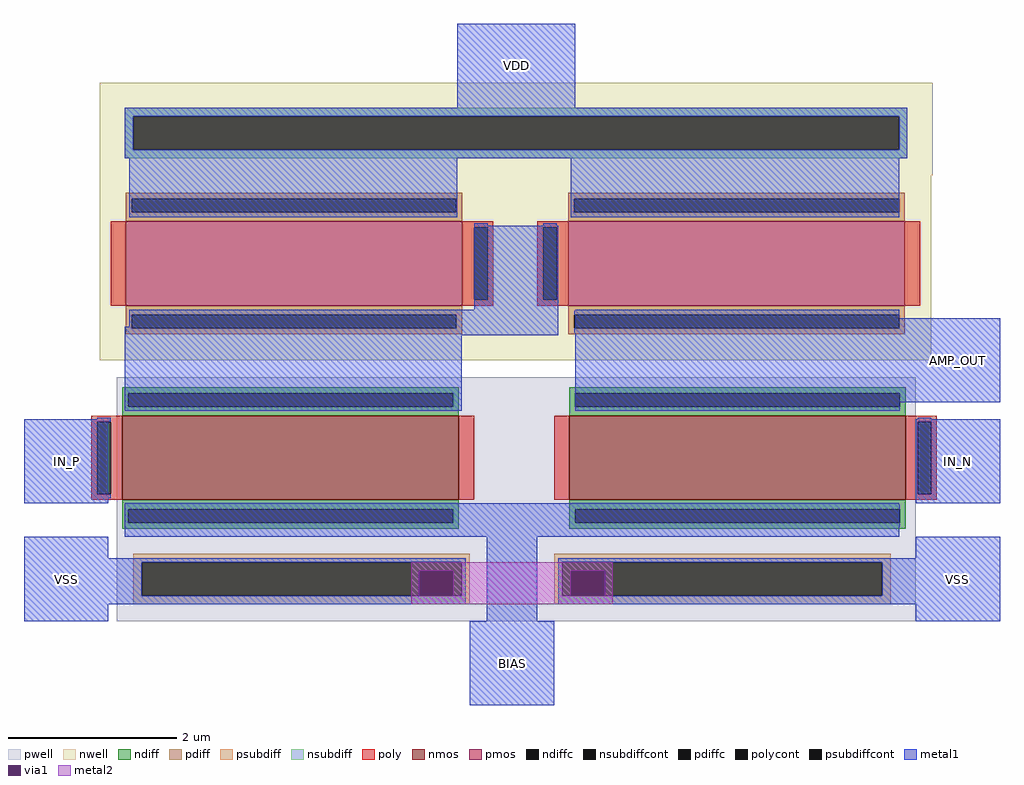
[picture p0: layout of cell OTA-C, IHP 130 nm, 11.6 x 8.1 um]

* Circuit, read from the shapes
.subckt OTA-C AMP_OUT IN_P VDD IN_N VSS BIAS
XM1 sg13_lv_nmos_CB58VR_0/D IN_P BIAS VSS sg13_lv_nmos w=4u l=1u
XM2 AMP_OUT IN_N BIAS VSS sg13_lv_nmos w=4u l=1u
XM3 VDD sg13_lv_nmos_CB58VR_0/D sg13_lv_nmos_CB58VR_0/D VDD sg13_lv_pmos w=4u l=1u
XM4 VDD sg13_lv_nmos_CB58VR_0/D AMP_OUT VDD sg13_lv_pmos w=4u l=1u
.ends

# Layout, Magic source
magic
tech ihp-sg13g2
magscale 1 2
<< nwell >>
rect 1340 -160 3320 60
rect 2220 -600 2740 -160
<< pwell >>
rect 1380 -1220 3280 -640
<< psubdiff >>
rect 1420 -1080 2220 -1060
rect 1420 -1160 1440 -1080
rect 2200 -1160 2220 -1080
rect 1420 -1180 2220 -1160
rect 2420 -1080 3220 -1060
rect 2420 -1160 2440 -1080
rect 3200 -1160 3220 -1080
rect 2420 -1180 3220 -1160
<< nsubdiff >>
rect 1400 -20 3260 0
rect 1400 -100 1420 -20
rect 3240 -100 3260 -20
rect 1400 -120 3260 -100
<< psubdiffcont >>
rect 1440 -1160 2200 -1080
rect 2440 -1160 3200 -1080
<< nsubdiffcont >>
rect 1420 -100 3240 -20
<< metal1 >>
rect 2190 0 2470 200
rect 1400 -20 3260 0
rect 1400 -100 1420 -20
rect 3240 -100 3260 -20
rect 1400 -120 3260 -100
rect 1410 -260 2190 -120
rect 2460 -260 3240 -120
rect 2230 -480 2430 -280
rect 1410 -520 2430 -480
rect 1400 -540 2430 -520
rect 2470 -500 3240 -480
rect 1400 -720 2200 -540
rect 2470 -700 3480 -500
rect 2470 -720 3240 -700
rect 1160 -940 1360 -740
rect 3280 -940 3480 -740
rect 1400 -1020 3240 -940
rect 1160 -1070 1360 -1020
rect 1160 -1080 2210 -1070
rect 1160 -1160 1440 -1080
rect 2200 -1160 2210 -1080
rect 1160 -1180 2210 -1160
rect 1160 -1220 1360 -1180
rect 2260 -1220 2380 -1020
rect 3280 -1070 3480 -1020
rect 2430 -1080 3480 -1070
rect 2430 -1160 2440 -1080
rect 3200 -1160 3480 -1080
rect 2430 -1180 3480 -1160
rect 3280 -1220 3480 -1180
rect 2220 -1420 2420 -1220
<< via1 >>
rect 2100 -1160 2180 -1100
rect 2460 -1160 2540 -1100
<< metal2 >>
rect 2080 -1100 2560 -1080
rect 2080 -1160 2100 -1100
rect 2180 -1160 2460 -1100
rect 2540 -1160 2560 -1100
rect 2080 -1180 2560 -1160
use sg13_lv_nmos_CB58VR  sg13_lv_nmos_CB58VR_0
transform 0 -1 1775 -1 0 -832
box -168 -455 168 455
use sg13_lv_pmos_XB565W  sg13_lv_pmos_XB565W_0
transform 0 1 1821 1 0 -370
box -230 -481 230 455
use sg13_lv_nmos_CB58VR  XM_IN_N
transform 0 1 2875 -1 0 -832
box -168 -455 168 455
use sg13_lv_pmos_XB565W  XM_LOAD2
transform 0 -1 2835 1 0 -370
box -230 -481 230 455
<< labels >>
flabel metal1 2230 0 2430 200 0 FreeSans 256 0 0 0 VDD
port 2 nsew
flabel metal1 3280 -940 3480 -740 0 FreeSans 256 0 0 0 IN_N
port 3 nsew
flabel metal1 1160 -940 1360 -740 0 FreeSans 256 0 0 0 IN_P
port 1 nsew
flabel metal1 1160 -1220 1360 -1020 0 FreeSans 256 0 0 0 VSS
port 4 nsew
flabel metal1 3280 -700 3480 -500 0 FreeSans 256 0 0 0 AMP_OUT
port 0 nsew
flabel metal1 2220 -1420 2420 -1220 0 FreeSans 256 0 0 0 BIAS
port 5 nsew
flabel metal1 3280 -1220 3480 -1020 0 FreeSans 256 180 0 0 VSS
port 4 nsew
<< end >>

# cell sg13_lv_nmos_CB58VR: kit device sg13_lv_nmos, w 4 l 1 m 1 nf 1 diffcov 100 polycov 100 guard 0 glc 1 grc 1 gtc 1 gbc 1 tbcov 100 rlcov 100 topc 1 botc 0 poverlap 0 doverlap 1 lmin 0.13 wmin 0.15 class mosfet compatible {sg13_lv_nmos sg13_hv_nmos} full_metal 1 conn_gates 0 gate_ring 0 doports 1 viasrc 0 viadrn 0 viagate 0 ccols 1 viagb 0 viagr 0 viagl 0 viagt 0

# cell sg13_lv_pmos_XB565W: kit device sg13_lv_pmos, w 4 l 1 m 1 nf 1 diffcov 100 polycov 100 guard 0 glc 1 grc 1 gtc 1 gbc 1 tbcov 100 rlcov 100 topc 1 botc 0 poverlap 0 doverlap 1 lmin 0.13 wmin 0.15 class mosfet compatible {sg13_lv_pmos sg13_hv_pmos} full_metal 1 conn_gates 0 gate_ring 0 ccols 1 viasrc 0 viadrn 0 viagate 0 viagb 0 viagr 0 viagl 0 viagt 0 doports 1
